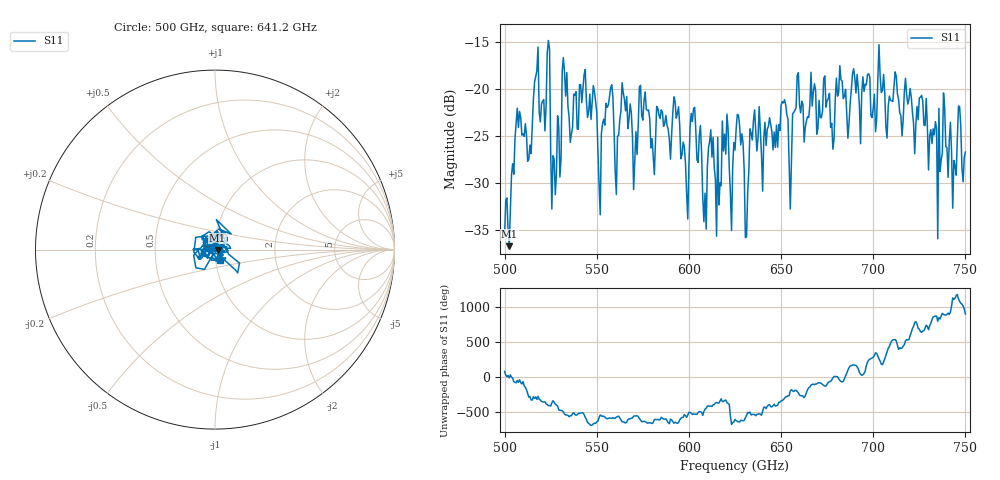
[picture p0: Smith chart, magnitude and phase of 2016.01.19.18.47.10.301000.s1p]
!Created with skrf (http://scikit-rf.org).
# GHz S RI R 50.0
!freq ReS11 ImS11
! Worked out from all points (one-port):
!   401 points, 500 GHz to 750 GHz, reference 50 ohm
!   lowest |S11| = -36.7 dB at 502.5 GHz (marker M1), VSWR 1.03, Z = 51.5 - j0.272 ohm
!   |S11| at or under -10 dB: start of sweep to end of sweep
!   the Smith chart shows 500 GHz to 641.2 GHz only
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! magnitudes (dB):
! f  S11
! 500 GHz  -35.6
! 502.5 GHz  -36.7
! 506.9 GHz  -22.0
! 513.8 GHz  -26.0
! 516.9 GHz  -18.7
! 523.8 GHz  -14.8
! 526.9 GHz  -27.4
! 531.2 GHz  -18.1
! 548.8 GHz  -20.3
! 551.9 GHz  -33.4
! 556.9 GHz  -20.9
! 560.6 GHz  -31.2
! 562.5 GHz  -23.2
! 593.8 GHz  -22.6
! 598.8 GHz  -31.0
! 602.5 GHz  -22.1
! 608.8 GHz  -31.1
! 611.9 GHz  -24.3
! 616.2 GHz  -32.3
! 625 GHz  -26.5
! 628.1 GHz  -25.9
! 631.2 GHz  -35.7
! 634.4 GHz  -25.4
! 656.2 GHz  -22.6
! 658.8 GHz  -18.6
! 687.5 GHz  -21.5
! 718.8 GHz  -21.6
! 750 GHz  -26.7
